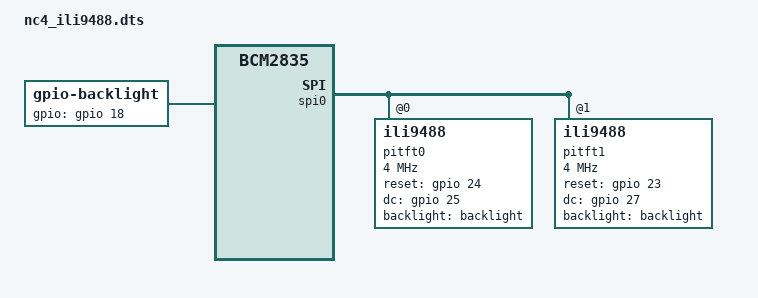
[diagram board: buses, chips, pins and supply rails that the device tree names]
/********************************************************************************
 * nc4_ili9488_swcs.dts
 *
 * Device Tree Overlay for two ILI9488 panels on Raspberry Pi's SPI0 bus,
 * with software-based chip select lines:
 *   - LCD_0 on GPIO 8 (Pin 24)
 *   - LCD_1 on GPIO 7 (Pin 26)
 * 
 *  => No "reg = <0>/<1>" usage, so the hardware SPI controller won't drive CE0/CE1.
 *     Instead, each node has "cs-gpios" to handle toggling in software.
 *
 * Based on your original nc4_ili9488.dts
 *
 * Compatible usage:
 *   dtoverlay=nc4_ili9488_swcs
 ********************************************************************************/
 /dts-v1/;
/plugin/;

/ {
	compatible = "brcm,bcm2835";

	/****************************************************************************
	 * Fragment 0: Enable SPI0 hardware
	 ****************************************************************************/
	fragment@0 {
		target = <&spi0>;
		__overlay__ {
			status = "okay";
			#address-cells = <1>;
			#size-cells = <0>;
		};
	};

	/****************************************************************************
	 * Fragment 1: Disable spidev0
	 ****************************************************************************/
	fragment@1 {
		target = <&spidev0>;
		__overlay__ {
			status = "disabled";
		};
	};

	/****************************************************************************
	 * Fragment 2: Disable spidev1
	 ****************************************************************************/
	fragment@2 {
		target = <&spidev1>;
		__overlay__ {
			status = "disabled";
		};
	};

	/****************************************************************************
	 * Fragment 3: GPIO pins for LCD_0 (RESET/DC/backlight)
	 *   GPIO24 = RESET,  GPIO25 = DC,  GPIO18 = shared backlight
	 ****************************************************************************/
	fragment@3 {
		target = <&gpio>;
		__overlay__ {
			pitft0_pins: pitft0_pins {
				brcm,pins = <24 25 18>;
				brcm,function = <1 1 1>; /* all outputs */
			};
		};
	};

	/****************************************************************************
	 * Fragment 4: GPIO pins for LCD_1 (RESET/DC/backlight)
	 *   GPIO23 = RESET,  GPIO27 = DC,  GPIO18 = shared backlight
	 ****************************************************************************/
	fragment@4 {
		target = <&gpio>;
		__overlay__ {
			pitft1_pins: pitft1_pins {
				brcm,pins = <23 27 18>;
				brcm,function = <1 1 1>;
			};
		};
	};

	/****************************************************************************
	 * Fragment 5: FIRST ILI9488 device node => software CS on GPIO8
	 ****************************************************************************/
	fragment@5 {
		target = <&spi0>;
		__overlay__ {
			pitft0: pitft0@0 {
				compatible = "ili9488";

				/* Instead of reg=<0>, we do a software chip select on GPIO8. */
				cs-gpios = <&gpio 8 0>;  /* "0" => active-low */

				/* Optionally specify SPI mode. 0 => CPOL=0, 0 => CPHA=0 */
				spi-cpol = <0>;
				spi-cpha = <0>;
				spi-max-frequency = <4000000>;

				pinctrl-names = "default";
				pinctrl-0 = <&pitft0_pins>;

				rotation = <0>;
				reset-gpios = <&gpio 24 0>;
				dc-gpios = <&gpio 25 0>;
				backlight = <&backlight>;
			};
		};
	};

	/****************************************************************************
	 * Fragment 6: SECOND ILI9488 device node => software CS on GPIO7
	 ****************************************************************************/
	fragment@6 {
		target = <&spi0>;
		__overlay__ {
			pitft1: pitft1@1 {
				compatible = "ili9488";

				/* Instead of reg=<1>, we do software chip select on GPIO7. */
				cs-gpios = <&gpio 7 0>;

				spi-cpol = <0>;
				spi-cpha = <0>;
				spi-max-frequency = <4000000>;

				pinctrl-names = "default";
				pinctrl-0 = <&pitft1_pins>;

				rotation = <0>;
				reset-gpios = <&gpio 23 0>;
				dc-gpios = <&gpio 27 0>;
				backlight = <&backlight>;
			};
		};
	};

	/****************************************************************************
	 * Fragment 7: Shared backlight on GPIO18
	 ****************************************************************************/
	fragment@7 {
		target-path = "/soc";
		__overlay__ {
			backlight: backlight {
				compatible = "gpio-backlight";
				gpios = <&gpio 18 0>;
			};
		};
	};

	/****************************************************************************
	 * Overridable parameters for speed and rotation
	 ****************************************************************************/
	__overrides__ {
		speed = <&pitft0>,"spi-max-frequency:0", <&pitft1>,"spi-max-frequency:0";
		rotation = <&pitft0>,"rotation:0", <&pitft1>,"rotation:0";
	};
};
